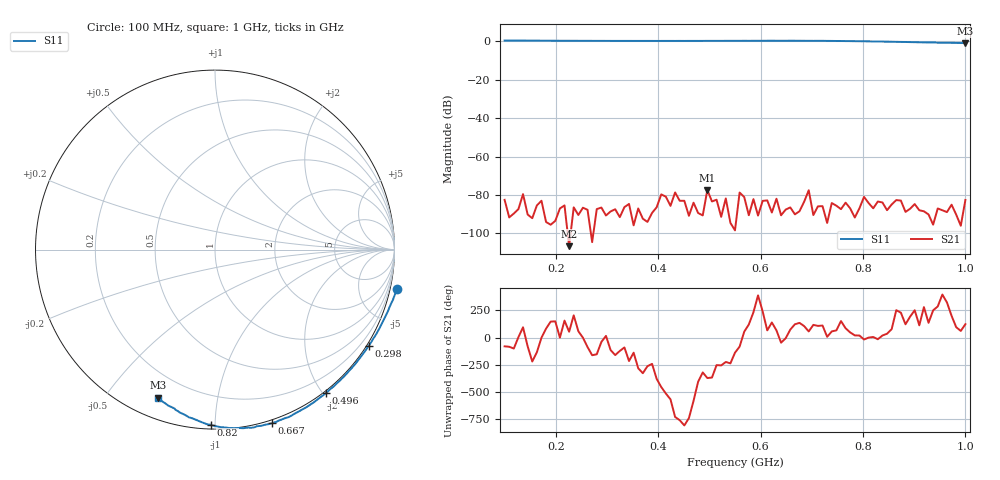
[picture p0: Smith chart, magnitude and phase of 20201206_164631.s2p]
# HZ S RI R 50
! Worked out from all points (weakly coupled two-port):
!   101 points, 100 MHz to 1 GHz, reference 50 ohm
!   highest |S21| = -77.39 dB at 496 MHz (marker M1); lowest = -106.6 dB at 226 MHz (marker M2)
!   lowest |S11| = -1.1 dB at 1 GHz (marker M3), VSWR 16.29, Z = 4.51 - j34.2 ohm
!   |S11| at or under -10 dB: nowhere
!   S12 and S22 are empty: the file has one direction only
!   S11 on the Smith chart (normalised r, x): 100 MHz: -1.53, -9.09; 298 MHz: -0.07, -3.49; 496 MHz: -0.03, -2.04; 667 MHz: -0.03, -1.38; 820 MHz: 0.02, -0.98; 1 GHz: 0.09, -0.68
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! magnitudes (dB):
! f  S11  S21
! 100 MHz  0.3  -82.5
! 136 MHz  0.3  -79.5
! 226 MHz  0.1  -106.6
! 253 MHz  0.1  -86.6
! 298 MHz  0.1  -90.7
! 406 MHz  0.1  -79.7
! 424 MHz  0.1  -85.6
! 433 MHz  0.1  -78.7
! 442 MHz  0.1  -83.0
! 487 MHz  0.1  -90.6
! 496 MHz  0.1  -77.4
! 505 MHz  0.1  -83.4
! 550 MHz  0.1  -98.4
! 559 MHz  0.1  -78.7
! 568 MHz  0.1  -81.1
! 667 MHz  0.2  -90.1
! 685 MHz  0.1  -83.5
! 694 MHz  0.1  -77.5
! 703 MHz  0.1  -90.4
! 820 MHz  -0.2  -86.9
! 856 MHz  -0.4  -84.9
! 1 GHz  -1.1  -82.6
